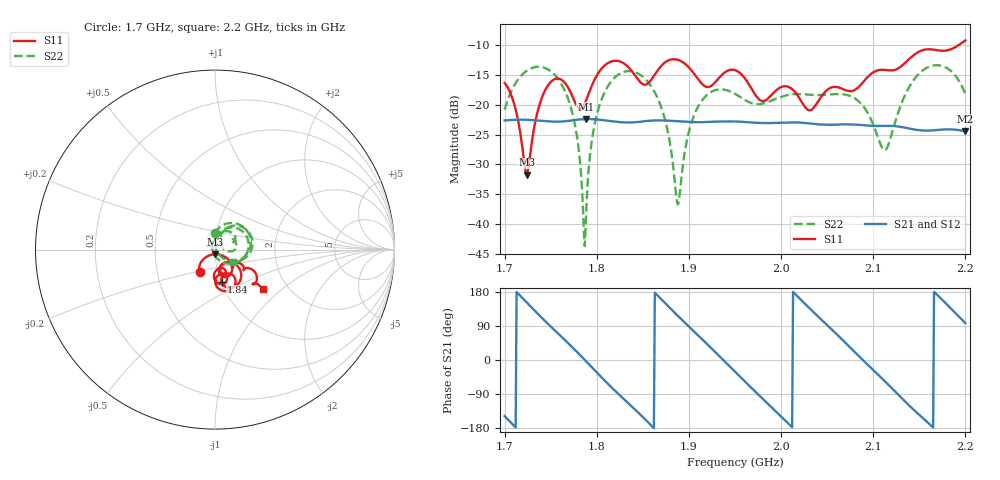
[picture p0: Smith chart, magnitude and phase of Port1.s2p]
# Hz S RI R 50
! CMT, CMT808U, 21440046, 21.4.3/4
! Date: 12/13/2025 10:44:04 PM
! Data: Format (Calibration Info)
! Freq	S11:Re/Im(F2)	S41:Re/Im(F2)	S14:Re/Im(F2)	S44:Re/Im(F2)
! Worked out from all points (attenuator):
!   501 points, 1.7 GHz to 2.2 GHz, reference 50 ohm
!   highest |S21| = -22.39 dB at 1.788 GHz (marker M1); lowest = -24.5 dB at 2.2 GHz (marker M2)
!   lowest |S11| = -31.7 dB at 1.724 GHz (marker M3), VSWR 1.05, Z = 50 - j2.6 ohm
!   |S11| at or under -10 dB: start of sweep to 2.193 GHz
!   |S22| runs from -43.7 to -13.4 dB; largest |S21 - S12| = 0.00039
!   S11 on the Smith chart (normalised r, x): 1.7 GHz: 0.82, -0.21; 1.84 GHz: 1.01, -0.37; 2.2 GHz: 1.50, -0.75
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1.7e9  -0.0854 -0.1257  -0.0628 -0.0391  -0.0625 -0.0391  -0.000593 0.0908
1.712e9  -0.0698 -0.059  -0.0749 -0.00249  -0.0749 -0.00269  0.0551 0.1419
1.724e9  0.00113 -0.026  -0.0659 0.0355  -0.0658 0.0353  0.132 0.1406
1.742e9  0.0915 -0.082  -0.022 0.0698  -0.0221 0.0696  0.1994 0.0497
1.765e9  0.0386 -0.149  0.0429 0.0586  0.0427 0.0585  0.1175 -0.062
1.777e9  0.0271 -0.0992  0.0676 0.0317  0.0673 0.0317  0.0432 -0.0469
1.784e9  0.0562 -0.0746  0.075 0.00996  0.0748 0.0101  0.0133 -0.0144
1.788e9  0.0795 -0.0712  0.0758 -0.00344  0.0757 -0.00331  0.00414 0.00902
1.794e9  0.1138 -0.0825  0.0722 -0.0233  0.0721 -0.0231  0.00241 0.0462
1.803e9  0.1441 -0.1255  0.0569 -0.0487  0.0569 -0.0485  0.0268 0.0955
1.84e9  0.0366 -0.1796  -0.0432 -0.0567  -0.043 -0.0567  0.188 0.0227
1.867e9  0.1125 -0.1635  -0.0723 0.0158  -0.0722 0.0156  0.076 -0.0784
1.888e9  0.0556 -0.2314  -0.0325 0.0651  -0.0325 0.065  -0.0142 -0.00336
1.91e9  0.00345 -0.1639  0.0305 0.0646  0.0302 0.0646  0.0252 0.0933
1.95e9  0.0308 -0.1928  0.0623 -0.0371  0.0622 -0.0368  0.1121 0.052
1.978e9  0.0189 -0.1068  -0.00906 -0.0698  -0.00882 -0.0697  0.0895 0.048
2.006e9  0.0496 -0.1338  -0.0679 -0.0205  -0.0678 -0.0208  0.1061 0.056
2.034e9  0.0574 -0.0721  -0.0436 0.0539  -0.0437 0.0537  0.1144 0.0392
2.08e9  0.108 -0.0778  0.0638 0.0242  0.0636 0.0244  0.1133 0.00174
2.117e9  0.1581 -0.1131  0.0263 -0.0612  0.0264 -0.0611  0.0299 0.037
2.156e9  0.2309 -0.1755  -0.0563 -0.0228  -0.0562 -0.023  0.1579 0.1224
2.2e9  0.2655 -0.2218  -0.00763 0.0594  -0.00781 0.0593  0.1025 -0.0667
